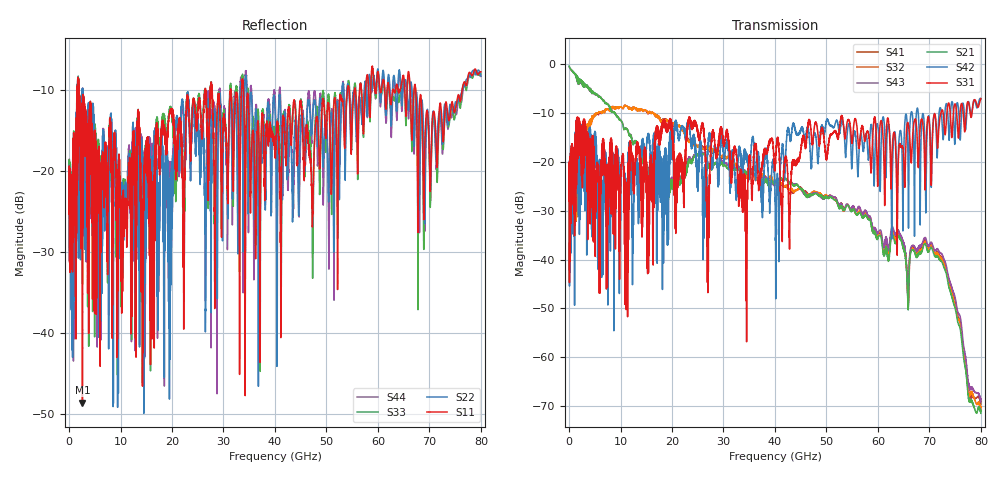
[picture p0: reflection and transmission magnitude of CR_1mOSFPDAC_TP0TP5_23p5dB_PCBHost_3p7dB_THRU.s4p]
!! Reference: shanbhag_3dj_01_2305.pdf
!! CHANNEL DESCRIPTION: TP0_TP5 CR Channel using 1meter DAC, PCB Host
!! MODEL DESCRIPTION: s4p, THRU
!! CONNECTOR DESCRIPTION: OSFP 200G SMT
!! CABLE DESCRIPTION: 1meter 26AWG Cable
!! MODEL STATUS: Developmental
!! PORT DEFINITIONS:
!! Port  1  ----->  Side A  Side B  <-----  Port  2
!! Port  3  ----->  Side A  Side B  <-----  Port  4
# HZ S MA R 50.000000
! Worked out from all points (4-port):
!   8000 points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, 10 MHz to 80 GHz, reference 50 ohm
!   strongest paths, dB at 10 MHz, 20.01 GHz, 40.01 GHz, 60.01 GHz, 80 GHz:
!     S31: -28.1, -12.6, -21.8, -22.5, -7.0
!     S42: -28.1, -14.7, -27.7, -12.9, -7.1
!     S21: -0.4, -23.8, -24.0, -35.6, -71.5
!     S43: -0.4, -23.3, -24.4, -34.6, -69.1
!     S32: -42.1, -12.5, -24.1, -34.7, -70.7
!     S41: -42.1, -12.6, -24.5, -35.3, -69.6
!   lowest |S11| = -48.6 dB at 2.6 GHz (marker M1), VSWR 1.01, Z = 50 + j0.367 ohm
!   |S11| at or under -10 dB: 1.972 GHz to 26.39 GHz (24.42 GHz wide, 172 % of centre); 33.89 GHz to 54.05 GHz (20.16 GHz wide, 45.8 % of centre); 67.34 GHz to 76.34 GHz (8.998 GHz wide, 12.5 % of centre) (the widest 3 of 28)
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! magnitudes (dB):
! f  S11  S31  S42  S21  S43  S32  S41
! 10 MHz  -25.3  -28.1  -28.1  -0.4  -0.4  -42.1  -42.1
! 2.6 GHz  -48.6  -20.0  -16.2  -3.5  -3.6  -16.0  -16.0
! 11.07 GHz  -24.0  -25.4  -27.9  -13.2  -13.1  -8.5  -8.5
! 18.9 GHz  -16.8  -13.8  -30.8  -29.8  -28.7  -11.4  -11.3
! 26.96 GHz  -16.5  -46.8  -16.3  -20.8  -20.6  -17.0  -17.3
! 70.39 GHz  -16.6  -24.2  -24.5  -37.5  -36.4  -36.8  -37.0
! 80 GHz  -7.7  -7.0  -7.1  -71.5  -69.1  -70.7  -69.6
